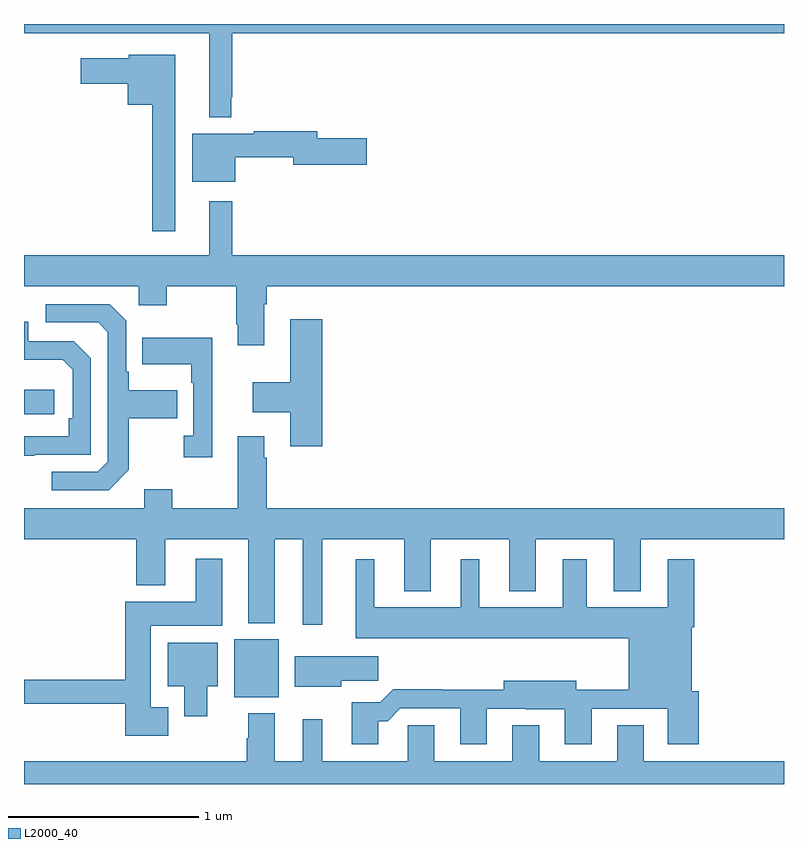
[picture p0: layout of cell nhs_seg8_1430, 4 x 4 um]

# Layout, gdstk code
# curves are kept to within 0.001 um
import gdstk
lib = gdstk.Library(unit=1e-6, precision=1e-09)
def R(c, l, rs):  # rectangles x0, y0, x1, y1
    for r in rs: c.add(gdstk.rectangle(r[:2], r[2:], *l))
def P(c, l, *ps):  # polygons
    for p in ps: c.add(gdstk.Polygon(p, *l))
L2000_40 = (2000, 40)

nhs_seg8_1430 = lib.new_cell('nhs_seg8_1430')
R(nhs_seg8_1430, L2000_40, [(204.107,1094.357,204.34,1094.662), (203,1095.846,203.158,1095.976)])
P(nhs_seg8_1430, L2000_40, [(204.09,1097.515),(204.097,1097.515),(204.097,1097.852),(207,1097.852),(207,1097.9),(203,1097.9),(203,1097.852),(203.975,1097.852),(203.975,1097.408),(204.09,1097.408)],
  [(203.797,1097.737),(203.55,1097.737),(203.55,1097.719),(203.298,1097.719),(203.298,1097.585),(203.546,1097.585),(203.546,1097.474),(203.676,1097.474),(203.676,1096.809),(203.797,1096.809)],
  [(204.112,1097.2),(204.416,1097.2),(204.416,1097.158),(204.805,1097.158),(204.805,1097.3),(204.544,1097.3),(204.544,1097.336),(204.208,1097.336),(204.208,1097.323),(203.885,1097.323),(203.885,1097.069),(204.112,1097.069)],
  [(204.265,1096.424),(204.278,1096.424),(204.278,1096.52),(207,1096.52),(207,1096.684),(204.097,1096.684),(204.097,1096.966),(203.975,1096.966),(203.975,1096.684),(203,1096.684),(203,1096.52),(203.604,1096.52),(203.604,1096.421),(203.751,1096.421),(203.751,1096.52),(204.118,1096.52),(204.118,1096.321),(204.125,1096.321),(204.125,1096.209),(204.265,1096.209)],
  [(203.551,1095.553),(203.551,1095.826),(203.807,1095.826),(203.807,1095.973),(203.551,1095.973),(203.551,1096.069),(203.538,1096.069),(203.538,1096.338),(203.451,1096.425),(203.115,1096.425),(203.115,1096.329),(203.391,1096.329),(203.442,1096.278),(203.442,1095.597),(203.388,1095.543),(203.145,1095.543),(203.145,1095.447),(203.445,1095.447)],
  [(204.569,1096.345),(204.401,1096.345),(204.401,1096.015),(204.204,1096.015),(204.204,1095.857),(204.401,1095.857),(204.401,1095.678),(204.569,1095.678)],
  [(203.057,1095.633),(203.352,1095.633),(203.352,1096.14),(203.262,1096.23),(203.022,1096.23),(203.022,1096.332),(203,1096.332),(203,1096.133),(203.203,1096.133),(203.256,1096.08),(203.256,1095.826),(203.236,1095.826),(203.236,1095.729),(203,1095.729),(203,1095.628),(203.057,1095.628)],
  [(203.99,1096.249),(203.623,1096.249),(203.623,1096.109),(203.88,1096.109),(203.88,1096.013),(203.892,1096.013),(203.892,1095.734),(203.841,1095.734),(203.841,1095.621),(203.99,1095.621)],
  [(204.571,1095.188),(205.001,1095.188),(205.001,1094.915),(205.141,1094.915),(205.141,1095.188),(205.553,1095.188),(205.553,1094.915),(205.693,1094.915),(205.693,1095.188),(206.105,1095.188),(206.105,1094.915),(206.245,1094.915),(206.245,1095.188),(207,1095.188),(207,1095.352),(204.278,1095.352),(204.278,1095.617),(204.265,1095.617),(204.265,1095.73),(204.125,1095.73),(204.125,1095.352),(203.781,1095.352),(203.781,1095.451),(203.633,1095.451),(203.633,1095.352),(203,1095.352),(203,1095.188),(203.591,1095.188),(203.591,1094.945),(203.743,1094.945),(203.743,1095.188),(204.179,1095.188),(204.179,1094.747),(204.319,1094.747),(204.319,1095.188),(204.467,1095.188),(204.467,1094.739),(204.571,1094.739)],
  [(203.758,1094.305),(203.668,1094.305),(203.668,1094.732),(204.043,1094.732),(204.043,1095.085),(203.903,1095.085),(203.903,1094.86),(203.534,1094.86),(203.534,1094.45),(203,1094.45),(203,1094.322),(203.534,1094.322),(203.534,1094.153),(203.758,1094.153)],
  [(204.865,1094.231),(204.914,1094.231),(204.981,1094.298),(205.295,1094.298),(205.295,1094.109),(205.435,1094.109),(205.435,1094.295),(205.847,1094.294),(205.847,1094.109),(205.987,1094.109),(205.987,1094.295),(206.387,1094.295),(206.387,1094.109),(206.552,1094.109),(206.552,1094.388),(206.515,1094.388),(206.515,1094.726),(206.528,1094.726),(206.528,1095.082),(206.387,1095.082),(206.387,1094.83),(205.963,1094.83),(205.963,1095.082),(205.835,1095.082),(205.835,1094.83),(205.396,1094.83),(205.396,1095.082),(205.298,1095.082),(205.298,1094.83),(204.844,1094.83),(204.844,1095.082),(204.746,1095.082),(204.746,1094.666),(206.183,1094.666),(206.183,1094.396),(205.906,1094.396),(205.906,1094.443),(205.526,1094.443),(205.526,1094.396),(205.199,1094.396),(205.199,1094.399),(204.944,1094.399),(204.874,1094.329),(204.725,1094.329),(204.725,1094.109),(204.865,1094.109)],
  [(203.965,1094.414),(204.019,1094.414),(204.019,1094.644),(203.756,1094.644),(203.756,1094.414),(203.843,1094.414),(203.843,1094.256),(203.965,1094.256)],
  [(204.67,1094.443),(204.865,1094.443),(204.865,1094.572),(204.426,1094.572),(204.426,1094.411),(204.67,1094.411)],
  [(207,1094.02),(206.263,1094.02),(206.263,1094.21),(206.123,1094.21),(206.123,1094.02),(205.711,1094.02),(205.711,1094.209),(205.571,1094.209),(205.571,1094.02),(205.159,1094.02),(205.159,1094.21),(205.02,1094.21),(205.02,1094.02),(204.571,1094.02),(204.571,1094.242),(204.467,1094.242),(204.467,1094.02),(204.319,1094.02),(204.319,1094.272),(204.179,1094.272),(204.179,1094.141),(204.172,1094.141),(204.172,1094.02),(203,1094.02),(203,1093.9),(207,1093.9)])

lib.write_gds('nhs_seg8_1430.gds')
